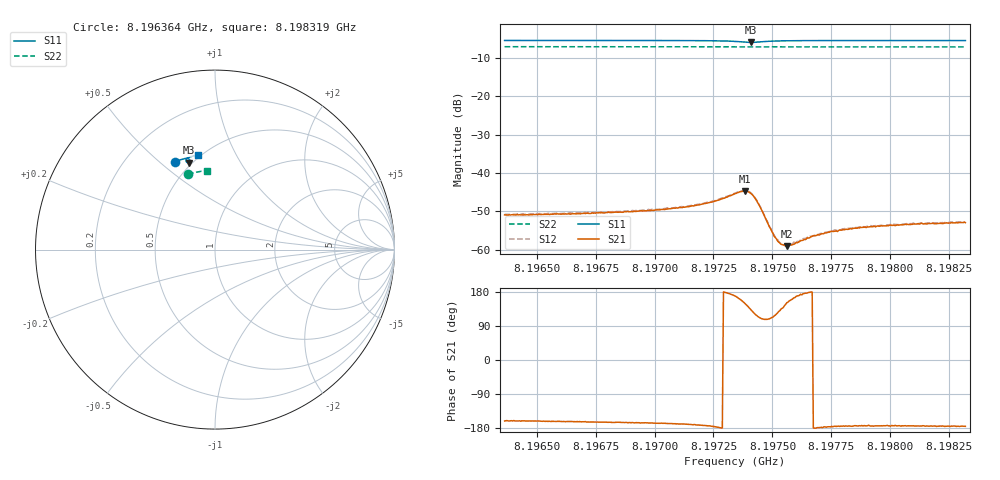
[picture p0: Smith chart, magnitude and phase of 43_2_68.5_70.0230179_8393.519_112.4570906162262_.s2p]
#  HZ  S  RI  R  50.00
! Rohde & Schwarz Vector Network Analyzer
! Rohde-Schwarz,ZNB20-2Port,1311601062101988,3.16
! Created: UTC 3/20/2024, 4:50:25 PM
! freq[Hz]  re:S11  im:S11  re:S21  im:S21  re:S12  im:S12  re:S22  im:S22
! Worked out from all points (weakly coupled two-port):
!   401 points, 8.196364 GHz to 8.198319 GHz, reference 50 ohm
!   highest |S21| = -44.67 dB at 8.197385 GHz (marker M1); lowest = -59.1 dB at 8.197561 GHz (marker M2)
!   lowest |S11| = -5.9 dB at 8.19741 GHz (marker M3), VSWR 3.05, Z = 23.9 + j31.2 ohm
!   |S11| at or under -10 dB: nowhere
!   |S22| runs from -7.1 to -7.0 dB; largest |S21 - S12| = 0.0003
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8.1963636e9  -0.2231 0.4883  -0.00269 -0.000931  -0.00276 -0.000886  -0.1495 0.4192
8.1966912e9  -0.2009 0.4975  -0.00285 -0.000865  -0.00293 -0.000791  -0.1318 0.4246
8.1970187e9  -0.177 0.5055  -0.00322 -0.000751  -0.00332 -0.000627  -0.1139 0.4292
8.197136e9  -0.1672 0.5077  -0.00356 -0.000646  -0.00366 -0.000527  -0.1076 0.4306
8.1972045e9  -0.1604 0.5087  -0.00392 -0.000504  -0.00398 -0.000377  -0.1037 0.4314
8.1972778e9  -0.1516 0.5081  -0.00451 -0.000104  -0.00461 4.71e-05  -0.0995 0.4321
8.1973414e9  -0.1423 0.5022  -0.00528 0.00104  -0.00532 0.0013  -0.0961 0.4326
8.1973658e9  -0.1399 0.4964  -0.00534 0.00206  -0.00535 0.00231  -0.0946 0.4328
8.1973854e9  -0.141 0.4904  -0.00496 0.00309  -0.0049 0.00329  -0.0937 0.4329
8.1974098e9  -0.1476 0.4847  -0.00359 0.004  -0.00345 0.00424  -0.0925 0.4329
8.1974245e9  -0.153 0.4846  -0.00256 0.00405  -0.00242 0.00421  -0.0919 0.4331
8.1974391e9  -0.1577 0.487  -0.00166 0.00367  -0.00152 0.0038  -0.0912 0.4333
8.1974978e9  -0.1606 0.501  -0.000655 0.0016  -0.000579 0.00167  -0.0882 0.4342
8.1975173e9  -0.1591 0.5042  -0.000721 0.00118  -0.000683 0.0012  -0.087 0.4347
8.1975369e9  -0.1571 0.5066  -0.000829 0.000835  -0.000804 0.000889  -0.086 0.4348
8.1975613e9  -0.1547 0.5089  -0.000974 0.000534  -0.000994 0.00063  -0.0844 0.435
8.1975907e9  -0.1517 0.511  -0.00113 0.00033  -0.00119 0.000407  -0.0828 0.4352
8.1976689e9  -0.1443 0.5145  -0.00149 1.98e-05  -0.0015 0.0001  -0.0784 0.436
8.1977227e9  -0.1397 0.5163  -0.00165 -0.000105  -0.00169 -2.52e-05  -0.0755 0.4365
8.1978058e9  -0.1329 0.5185  -0.00181 -0.00016  -0.00188 -0.000104  -0.0707 0.437
8.1979964e9  -0.1185 0.5221  -0.00207 -0.000227  -0.00211 -0.000124  -0.0599 0.4385
8.1983191e9  -0.095 0.5268  -0.00224 -0.000192  -0.00229 -8.45e-05  -0.0418 0.4399
